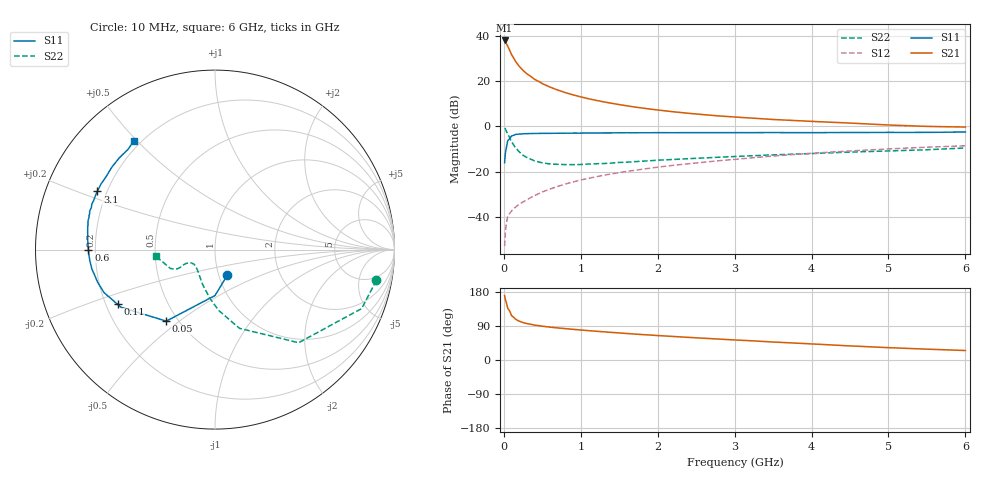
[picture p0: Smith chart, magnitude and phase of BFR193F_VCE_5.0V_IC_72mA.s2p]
! Infineon Technologies  Discrete & RF Semiconductors
! BFR193F
! VCE =  5.0 V,  IC =  72 mA
! Common Emitter S-Parameters:  Jan 2017
# GHz  S  MA  R  50
!  f  S11  S21  S12  S22
! GHz  MAG  ANG  MAG  ANG  MAG  ANG  MAG  ANG
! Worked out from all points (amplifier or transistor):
!   77 points, 10 MHz to 6 GHz, reference 50 ohm
!   highest |S21| = 38.2 dB at 10 MHz (marker M1)
!   |S21| within 3 dB of that: start of sweep to 57.14 MHz
!   unconditionally stable (mu >= 1): 651.8 MHz to 2.434 GHz
!   at 130 MHz: K = 0.57, MSG = 33.4 dB, |S12| = -36.5 dB
!   at 2.2 GHz: K = 1.01, MAG = 11.2 dB, |S12| = -17.3 dB
!   at 6 GHz: K = 0.86, MSG = 4.2 dB, |S12| = -8.6 dB
!   S11 on the Smith chart (normalised r, x): 10 MHz: 1.10, -0.32; 50 MHz: 0.43, -0.45; 110 MHz: 0.25, -0.25; 600 MHz: 0.17, -0.00; 3.1 GHz: 0.16, +0.23; 6 GHz: 0.17, +0.49
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0.01  0.1574 -63.8  81.34 169.7  0.0022 86.3  0.9153 -10.8
0.02  0.2559 -90.0  77.45 159.5  0.0046 73.2  0.8809 -21.9
0.05  0.4825 -124.3  60.97 136.8  0.01 58.8  0.6973 -48.1
0.1  0.6145 -148.5  39.53 117.1  0.0133 52.4  0.4595 -72.7
0.11  0.6225 -150.7  37.21 115.7  0.0139 53.1  0.4337 -74.9
0.15  0.663 -158.8  28.23 107.9  0.0161 55.5  0.339 -86.6
0.2  0.6789 -164.5  21.69 102.4  0.0189 58.3  0.274 -95.8
0.25  0.687 -168.6  17.55 98.7  0.0211 60.8  0.2292 -103.7
0.3  0.6943 -171.0  14.76 96.1  0.0236 62.9  0.205 -109.8
0.4  0.7003 -175.1  11.15 92.0  0.0292 67.7  0.1721 -119.7
0.5  0.7031 -177.7  8.967 89.2  0.0351 69.4  0.1559 -126.9
0.6  0.7052 -180.0  7.501 86.7  0.0409 71.2  0.1472 -132.9
0.7  0.7084 178.1  6.449 84.6  0.0466 72.8  0.1444 -137.2
0.8  0.7095 176.6  5.649 82.8  0.0528 73.8  0.1425 -141.3
0.9  0.7127 174.9  5.037 80.9  0.0586 74.6  0.142 -144.1
1.1  0.7161 172.4  4.135 77.5  0.0705 74.8  0.1467 -147.8
1.5  0.724 167.9  3.063 71.4  0.0946 75.4  0.159 -152.5
2.1  0.7289 162.2  2.224 63.4  0.1308 74.7  0.1818 -154.3
3.1  0.7314 153.7  1.584 51.9  0.1927 72.3  0.2191 -152.9
4.1  0.731 145.0  1.277 41.4  0.2603 67.8  0.2544 -154.8
5.1  0.7384 135.2  1.064 31.8  0.323 61.9  0.2897 -164.0
6  0.7556 126.8  0.972 25.0  0.373 56.4  0.3333 -173.6
